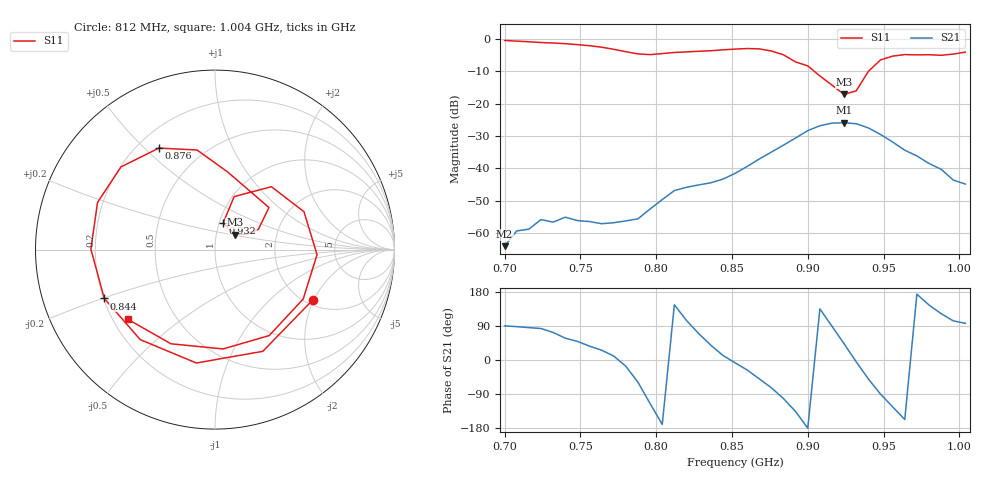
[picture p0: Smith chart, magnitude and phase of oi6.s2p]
# Hz S RI R 50
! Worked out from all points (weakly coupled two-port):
!   39 points, 700 MHz to 1.004 GHz, reference 50 ohm
!   highest |S21| = -25.92 dB at 924 MHz (marker M1); lowest = -64.0 dB at 700 MHz (marker M2)
!   lowest |S11| = -17.2 dB at 924 MHz (marker M3), VSWR 1.32, Z = 61.4 + j10.4 ohm
!   |S11| at or under -10 dB: 904.2 MHz to 940.1 MHz (35.97 MHz wide, 3.9 % of centre)
!   S12 and S22 are empty: the file has one direction only
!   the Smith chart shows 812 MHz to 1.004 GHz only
!   S11 on the Smith chart (normalised r, x): 812 MHz: 2.21, -1.97; 844 MHz: 0.20, -0.20; 876 MHz: 0.28, +0.55; 932 MHz: 1.05, +0.32; 1.004 GHz: 0.26, -0.33
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7e8  0.7578 0.5561  -5.06e-07 0.000632  0 0  0 0
7.24e8  0.8383 -0.2463  0.000196 0.00161  0 0  0 0
7.4e8  0.4582 -0.7026  0.00095 0.00149  0 0  0 0
7.56e8  -0.1905 -0.7565  0.00122 0.000903  0 0  0 0
7.72e8  -0.657 -0.2  0.00143 0.000262  0 0  0 0
7.8e8  -0.5908 0.2203  0.00149 -0.000443  0 0  0 0
7.88e8  -0.2485 0.5275  0.000864 -0.00143  0 0  0 0
7.96e8  0.2362 0.5169  -0.001 -0.00215  0 0  0 0
8.04e8  0.5633 0.1747  -0.00326 -0.000573  0 0  0 0
8.12e8  0.5471 -0.2782  -0.00376 0.00257  0 0  0 0
8.28e8  -0.1038 -0.6319  0.00191 0.00523  0 0  0 0
8.44e8  -0.6169 -0.2722  0.00668 0.00143  0 0  0 0
8.52e8  -0.6914 0.00219  0.0083 -0.00107  0 0  0 0
8.76e8  -0.3128 0.5656  0.00513 -0.0171  0 0  0 0
9e8  0.3006 0.2343  -0.0383 -8.05e-05  0 0  0 0
9.08e8  0.2416 0.1128  -0.0321 0.0322  0 0  0 0
9.24e8  0.1105 0.0832  0.0372 0.0342  0 0  0 0
9.32e8  0.0463 0.1503  0.0487 -0.00425  0 0  0 0
9.48e8  0.3143 0.3504  1.01e-06 -0.0334  0 0  0 0
9.56e8  0.4957 0.211  -0.0141 -0.0212  0 0  0 0
9.8e8  0.3019 -0.4789  -0.00976 0.00684  0 0  0 0
1.004e9  -0.4841 -0.389  -0.000674 0.00569  0 0  0 0
